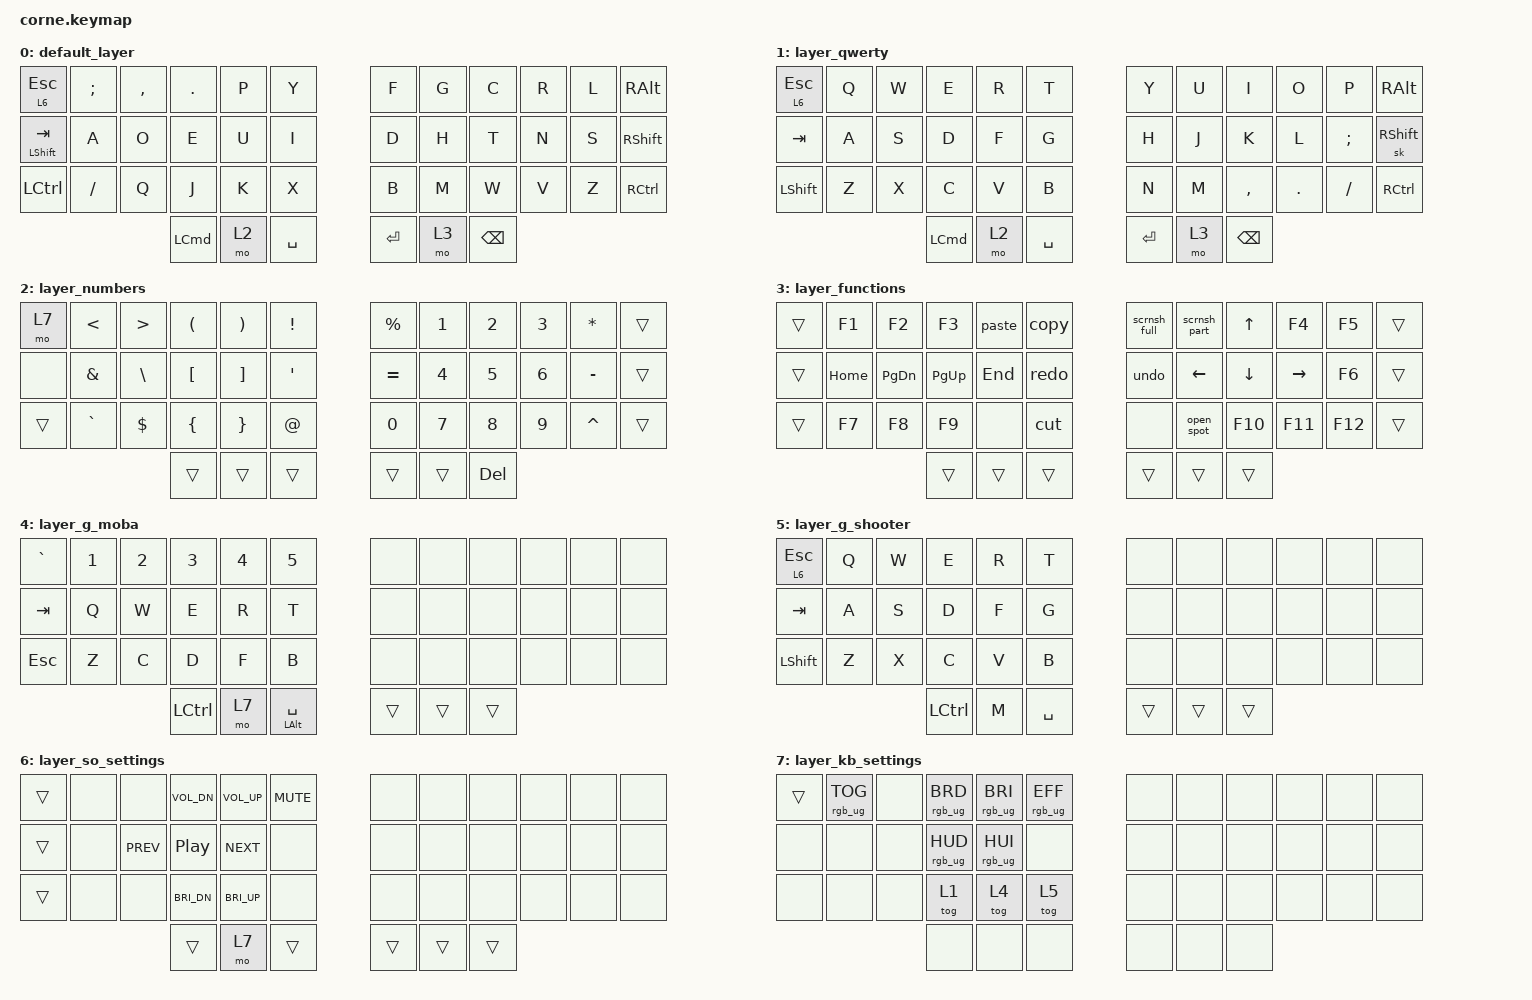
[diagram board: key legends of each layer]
/*
 * Copyright (c) 2020 The ZMK Contributors
 *
 * SPDX-License-Identifier: MIT
 */

#include <behaviors.dtsi>
#include <dt-bindings/led/led.h>
#include <dt-bindings/zmk/keys.h>
#include <dt-bindings/zmk/rgb.h>

&spi1 {
    compatible = "nordic,nrf-spim";

    /* Cannot be used together with i2c0. */

    status = "okay";
    mosi-pin = <6>;

    // Unused pins, needed for SPI definition, but not used by the ws2812 driver itself.

    sck-pin = <5>;
    miso-pin = <7>;

    led_strip: ws2812@0 {
        compatible = "worldsemi,ws2812-spi";
        label = "SK6812mini";

        /* SPI */

        reg = <0>;/* ignored, but necessary for SPI bindings */
        spi-max-frequency = <4000000>;

        /* WS2812 */

        chain-length = <27>;/* There are per-key RGB, but the first 6 are underglow */
        spi-one-frame = <0x70>;
        spi-zero-frame = <0x40>;
        color-mapping = <LED_COLOR_ID_GREEN LED_COLOR_ID_RED LED_COLOR_ID_BLUE>;
    };
};

/ {
    chosen {
        zmk,underglow = &led_strip;
    };
};

&mt {
    tapping-term-ms = <400>;
};

/ {
    macros {
        paste: paste {
            compatible = "zmk,behavior-macro";
            label = "macro_paste";
            #binding-cells = <0>;
            bindings =
                <&macro_press &kp LCMD>,
                <&macro_tap &kp V>,
                <&macro_release &kp LCMD>;
        };
        copy: copy {
            compatible = "zmk,behavior-macro";
            label = "macro_copy";
            #binding-cells = <0>;
            bindings =
                <&macro_press &kp LCMD>,
                <&macro_tap &kp C>,
                <&macro_release &kp LCMD>;
        };
        cut: cut {
            compatible = "zmk,behavior-macro";
            label = "macro_cut";
            #binding-cells = <0>;
            bindings =
                <&macro_press &kp LCMD>,
                <&macro_tap &kp X>,
                <&macro_release &kp LCMD>;
        };
        undo: undo {
            compatible = "zmk,behavior-macro";
            label = "macro_undo";
            #binding-cells = <0>;
            bindings =
                <&macro_press &kp LCMD>,
                <&macro_tap &kp Z>,
                <&macro_release &kp LCMD>;
        };
        redo: redo {
            compatible = "zmk,behavior-macro";
            label = "macro_redo";
            #binding-cells = <0>;
            bindings =
                <&macro_press &kp LCMD &kp LEFT_SHIFT>,
                <&macro_tap &kp Z>,
                <&macro_release &kp LEFT_SHIFT &kp LCMD>;
        };
        scrnsh_full: scrnsh_full {
            compatible = "zmk,behavior-macro";
            label = "macro_scrnsh_full";
            #binding-cells = <0>;
            bindings =
                <&macro_press &kp LCMD &kp LEFT_SHIFT>,
                <&macro_tap &kp NUMBER_3>,
                <&macro_release &kp LCMD &kp LEFT_SHIFT>;
        };
        scrnsh_part: scrnsh_part {
            compatible = "zmk,behavior-macro";
            label = "macro_scrnsh_part";
            #binding-cells = <0>;
            bindings =
                <&macro_press &kp LCMD &kp LSHFT>,
                <&macro_tap &kp NUMBER_4>,
                <&macro_release &kp LCMD &kp LSHFT>;
        };
        open_spot: open_spot {
            compatible = "zmk,behavior-macro";
            label = "macro_open_spot";
            #binding-cells = <0>;
            bindings =
                <&macro_press &kp LCMD>,
                <&macro_tap &kp SPACE>,
                <&macro_release &kp LCMD>;
        };
    };

    keymap {
        compatible = "zmk,keymap";

        default_layer {
            bindings = <
          &lt 6 ESC  &kp SEMICOLON  &kp COMMA   &kp DOT   &kp P      &kp Y     &kp F   &kp G      &kp C   &kp R   &kp L    &kp RALT
 &mt LEFT_SHIFT TAB          &kp A      &kp O     &kp E   &kp U      &kp I     &kp D   &kp H      &kp T   &kp N   &kp S  &kp RSHIFT
          &kp LCTRL      &kp SLASH      &kp Q     &kp J   &kp K      &kp X     &kp B   &kp M      &kp W   &kp V   &kp Z   &kp RCTRL
                                               &kp LCMD   &mo 2  &kp SPACE  &kp RETURN   &mo 3  &kp BSPC
            >;
        };

        layer_qwerty {
            bindings = <
      &lt 6 ESC   &kp Q   &kp W     &kp E   &kp R      &kp T       &kp Y   &kp U      &kp I    &kp O     &kp P   &kp RALT
        &kp TAB   &kp A   &kp S     &kp D   &kp F      &kp G       &kp H   &kp J      &kp K    &kp L  &kp SEMI  &sk RSHFT
 &kp LEFT_SHIFT   &kp Z   &kp X     &kp C   &kp V      &kp B       &kp N   &kp M  &kp COMMA  &kp DOT  &kp FSLH  &kp RCTRL
                                 &kp LCMD   &mo 2  &kp SPACE  &kp RETURN   &mo 3   &kp BSPC
            >;
        };

        layer_numbers {
            bindings = <
  &mo 7         &kp LT         &kp GT  &kp LEFT_PARENTHESIS  &kp RIGHT_PARENTHESIS  &kp EXCL  &kp PRCNT  &kp NUMBER_1  &kp NUMBER_2  &kp NUMBER_3   &kp STAR  &trans
  &none  &kp AMPERSAND  &kp BACKSLASH      &kp LEFT_BRACKET      &kp RIGHT_BRACKET   &kp SQT  &kp EQUAL  &kp NUMBER_4  &kp NUMBER_5  &kp NUMBER_6  &kp MINUS  &trans
 &trans      &kp GRAVE     &kp DOLLAR        &kp LEFT_BRACE        &kp RIGHT_BRACE    &kp AT     &kp N0  &kp NUMBER_7  &kp NUMBER_8  &kp NUMBER_9  &kp CARET  &trans
                                                     &trans                 &trans    &trans    &trans        &trans        &kp DEL
            >;
        };

        layer_functions {
            bindings = <
 &trans    &kp F1     &kp F2     &kp F3   &paste   &copy  &scrnsh_full  &scrnsh_part    &kp UP     &kp F4   &kp F5  &trans
 &trans  &kp HOME  &kp PG_DN  &kp PG_UP  &kp END   &redo         &undo      &kp LEFT  &kp DOWN  &kp RIGHT   &kp F6  &trans
 &trans    &kp F7     &kp F8     &kp F9    &none    &cut         &none    &open_spot   &kp F10    &kp F11  &kp F12  &trans
                                 &trans   &trans  &trans        &trans        &trans    &trans
            >;
        };

        layer_g_moba {
            bindings = <
 &kp GRAVE  &kp NUMBER_1  &kp NUMBER_2  &kp NUMBER_3  &kp NUMBER_4    &kp NUMBER_5   &none   &none   &none   &none   &none   &none
  &kp TAB         &kp Q         &kp W         &kp E         &kp R           &kp T   &none   &none   &none   &none   &none   &none
  &kp ESC         &kp Z         &kp C         &kp D         &kp F           &kp B   &none   &none   &none   &none   &none   &none
                                          &kp LCTRL         &mo 7  &mt LALT SPACE  &trans  &trans  &trans
            >;
        };

        layer_g_shooter {
            bindings = <
 &lt 6 ESC   &kp Q   &kp W      &kp E   &kp R      &kp T   &none   &none   &none   &none   &none   &none
   &kp TAB   &kp A   &kp S      &kp D   &kp F      &kp G   &none   &none   &none   &none   &none   &none
 &kp LSHFT   &kp Z   &kp X      &kp C   &kp V      &kp B   &none   &none   &none   &none   &none   &none
                            &kp LCTRL   &kp M  &kp SPACE  &trans  &trans  &trans
            >;
        };

        layer_so_settings {
            bindings = <
 &trans   &none       &none  &kp C_VOL_DN  &kp C_VOL_UP  &kp K_MUTE   &none   &none   &none   &none   &none   &none
 &trans   &none  &kp C_PREV      &kp C_PP    &kp C_NEXT       &none   &none   &none   &none   &none   &none   &none
 &trans   &none       &none  &kp C_BRI_DN  &kp C_BRI_UP       &none   &none   &none   &none   &none   &none   &none
                                   &trans         &mo 7      &trans  &trans  &trans  &trans
            >;
        };

        layer_kb_settings {
            bindings = <
 &trans  &rgb_ug RGB_TOG   &none  &rgb_ug RGB_BRD  &rgb_ug RGB_BRI  &rgb_ug RGB_EFF   &none   &none   &none   &none   &none   &none
  &none            &none   &none  &rgb_ug RGB_HUD  &rgb_ug RGB_HUI            &none   &none   &none   &none   &none   &none   &none
  &none            &none   &none           &tog 1           &tog 4           &tog 5   &none   &none   &none   &none   &none   &none
                                            &none            &none            &none   &none   &none   &none
            >;
        };
    };
};
